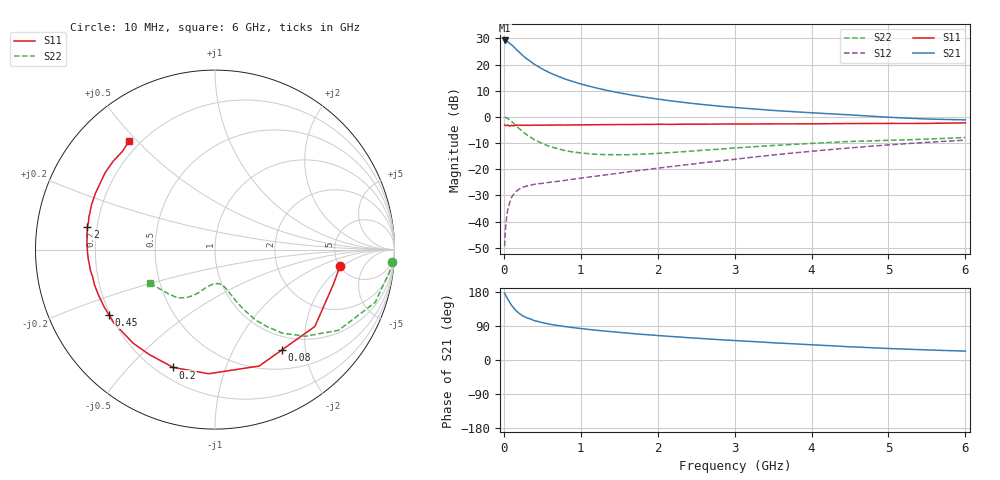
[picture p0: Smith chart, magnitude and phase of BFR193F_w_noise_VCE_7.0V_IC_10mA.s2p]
! Infineon Technologies  Discrete & RF Semiconductors
! BFR193F
! VCE =  7.0 V,  IC =  10 mA
! Common Emitter S-Parameters:  Jan 2017
# GHz  S  MA  R  50
!  f  S11  S21  S12  S22
! GHz  MAG  ANG  MAG  ANG  MAG  ANG  MAG  ANG
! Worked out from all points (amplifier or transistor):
!   77 points, 10 MHz to 6 GHz, reference 50 ohm
!   highest |S21| = 29.2 dB at 10 MHz (marker M1)
!   |S21| within 3 dB of that: start of sweep to 148.1 MHz
!   unconditionally stable (mu >= 1): 1.576 GHz to 2.856 GHz
!   at 130 MHz: K = 0.17, MSG = 28.1 dB, |S12| = -29.4 dB
!   at 2.2 GHz: K = 1.04, MAG = 11.2 dB, |S12| = -18.9 dB
!   at 6 GHz: K = 0.79, MSG = 3.9 dB, |S12| = -8.9 dB
!   lowest NFmin = 0.87 dB at 450 MHz
!   S11 on the Smith chart (normalised r, x): 10 MHz: 5.04, -1.82; 80 MHz: 0.77, -1.58; 200 MHz: 0.26, -0.67; 450 MHz: 0.19, -0.27; 2 GHz: 0.16, +0.09; 6 GHz: 0.16, +0.47
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0.01  0.7025 -7.5  28.84 176.3  0.0034 84.0  0.9871 -3.9
0.02  0.6878 -16.2  28.55 171.8  0.0068 86.8  0.9789 -7.5
0.05  0.7022 -37.6  27.35 160.6  0.0167 73.6  0.94 -18.2
0.08  0.6718 -56.5  25.07 151.2  0.024 64.3  0.8624 -26.7
0.1  0.6938 -69.2  23.99 144.0  0.0291 60.8  0.8227 -33.1
0.12  0.6791 -78.6  22.39 139.6  0.0321 56.9  0.77 -36.9
0.15  0.6924 -92.9  20.29 131.9  0.0369 52.2  0.6986 -43.7
0.2  0.6966 -109.5  17.21 122.9  0.0418 45.9  0.5984 -51.1
0.25  0.6899 -122.1  14.68 116.2  0.0455 43.0  0.5143 -56.2
0.3  0.6929 -131.3  12.79 111.2  0.0479 40.9  0.4538 -60.0
0.4  0.6965 -144.3  10.03 103.6  0.0518 38.9  0.3651 -64.7
0.45  0.6941 -148.4  9.11 101.3  0.0528 39.0  0.3371 -66.1
0.6  0.6969 -158.7  6.939 94.3  0.0565 40.5  0.2715 -70.1
0.7  0.6995 -163.6  5.997 91.0  0.0588 42.4  0.2466 -72.2
1.1  0.708 -175.6  3.888 80.7  0.0708 49.9  0.1988 -79.9
1.5  0.7147 176.9  2.886 72.9  0.0845 56.8  0.1897 -88.2
2  0.7225 170.0  2.191 64.6  0.1048 62.8  0.201 -97.9
2.1  0.7217 168.9  2.094 63.2  0.1094 63.6  0.2053 -99.4
3.1  0.7325 158.7  1.476 50.2  0.1613 69.9  0.2608 -111.6
4.1  0.7402 148.9  1.177 39.2  0.2276 70.2  0.3171 -122.4
5.1  0.7509 137.9  0.97 29.6  0.2989 66.3  0.3607 -138.0
6  0.7708 128.5  0.877 23.4  0.3596 60.9  0.4052 -152.6
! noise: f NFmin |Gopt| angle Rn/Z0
0.45  0.87  0.25  139  0.07
0.9  1  0.38  152  0.07
1.9  1.7  0.59  -176  0.06
2.4  2.05  0.63  -165  0.08
